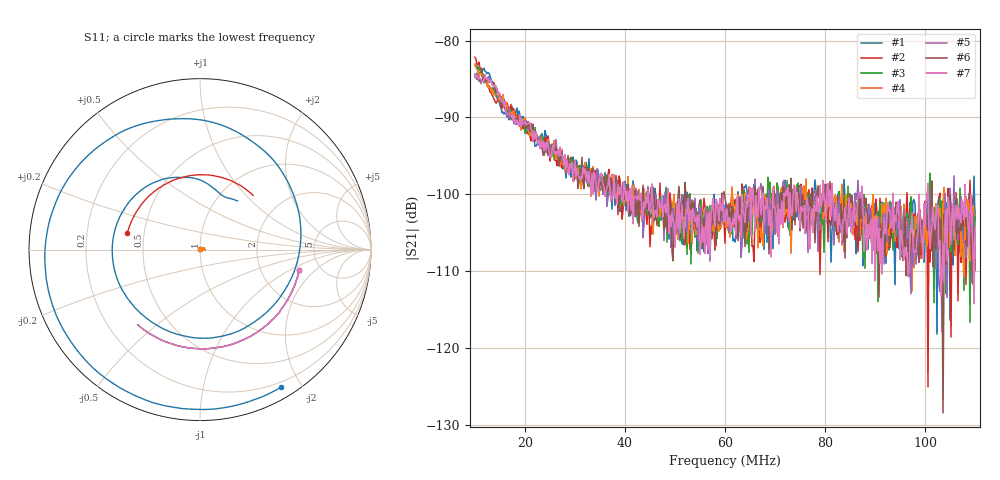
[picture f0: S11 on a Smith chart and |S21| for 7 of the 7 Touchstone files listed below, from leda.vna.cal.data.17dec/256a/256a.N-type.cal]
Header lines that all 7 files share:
! Anritsu VNA Master:  Model: MS2036C/10/77
! SN:  1601066
! Existing Calibration Information:
! TYPE:  Current Settings,  Active Cal Settings
! # POINTS:  501,  501
! START FREQ:  10.000 MHz,  10.000 MHz
! STOP FREQ:  110.000 MHz,  110.000 MHz
! SOURCE POWER:  High,  High
! IFBW:  100 Hz,  100 Hz
! AVG FACTOR:  1 ,  1
! REF PLANE 1:  0 mm,  0 mm
! REF PLANE 2:  0 mm,  0 mm
! CAL TYPE:  Full S11,  Full S11
! CAL METHOD:  SOLT,  SOLT
! CAL LINE TYPE:  Coax,  Coax
! DUT PORT 1:  N-Conn(F),  N-Conn(F)
! DUT PORT 2:  K-Conn(F),  K-Conn(F)
! CAL STATUS:  OK: Accuracy High,  --
# GHZ S DB R 50.0
! FREQ.GHZ  S11DB  S11A  S21DB  S21A  S12DB  S12A  S22DB  S22A
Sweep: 10 MHz to 110 MHz
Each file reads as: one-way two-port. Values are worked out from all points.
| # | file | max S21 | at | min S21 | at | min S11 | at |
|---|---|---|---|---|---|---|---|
| 1 | 256.ew.n.me.s2p | -83.61 dB | 11.8 MHz | -118.2 dB | 102.4 MHz | -9.4 dB | 104.4 MHz |
| 2 | 256.ew.n.r20.21.s2p | -82.17 dB | 10 MHz | -125.1 dB | 100.6 MHz | -7.3 dB | 35 MHz |
| 3 | 256.ew.n.r50.11.s2p | -83.18 dB | 10.2 MHz | -116.7 dB | 109 MHz | -44.6 dB | 10 MHz |
| 4 | 256.ew.n.r50.12.s2p | -83.07 dB | 10 MHz | -112.6 dB | 97.4 MHz | -44.9 dB | 10.8 MHz |
| 5 | 256.ew.n.r200.11.s2p | -84.33 dB | 10.4 MHz | -117.9 dB | 103.4 MHz | -4.9 dB | 108.4 MHz |
| 6 | 256.ew.n.r200.12.s2p | -84.36 dB | 10 MHz | -128.5 dB | 103.6 MHz | -4.9 dB | 108.4 MHz |
| 7 | 256.ew.n.r200.21.s2p | -84.33 dB | 10.2 MHz | -114.3 dB | 109.8 MHz | -4.9 dB | 108.4 MHz |
